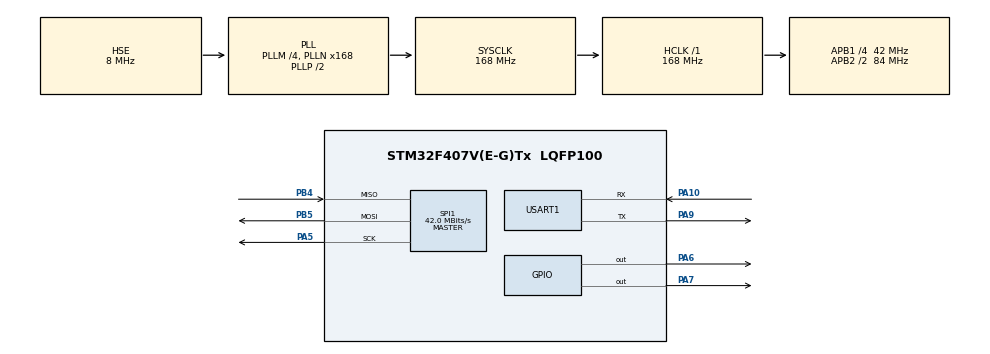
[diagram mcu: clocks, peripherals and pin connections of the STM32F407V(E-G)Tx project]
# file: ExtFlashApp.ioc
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Mcu.Family=STM32F4
Mcu.Name=STM32F407V(E-G)Tx
Mcu.Package=LQFP100
NVIC.PriorityGroup=NVIC_PRIORITYGROUP_4
NVIC.TIM4_IRQn=true\:0\:0\:false\:false\:true\:true\:true\:true
NVIC.TIM8_TRG_COM_TIM14_IRQn=true\:15\:0\:false\:false\:true\:false\:true\:true
NVIC.TimeBase=TIM8_TRG_COM_TIM14_IRQn
NVIC.TimeBaseIP=TIM14
NVIC.USART1_IRQn=true\:0\:0\:false\:false\:true\:true\:true\:true
PA10.Mode=Asynchronous
PA10.Signal=USART1_RX
PA13.Mode=Serial_Wire
PA13.Signal=SYS_JTMS-SWDIO
PA14.Mode=Serial_Wire
PA14.Signal=SYS_JTCK-SWCLK
PA5.Mode=Full_Duplex_Master
PA5.Signal=SPI1_SCK
PA6.Signal=GPIO_Output
PA7.Signal=GPIO_Output
PA9.Mode=Asynchronous
PA9.Signal=USART1_TX
PB4.Mode=Full_Duplex_Master
PB4.Signal=SPI1_MISO
PB5.Mode=Full_Duplex_Master
PB5.Signal=SPI1_MOSI
PH0-OSC_IN.Mode=HSE-External-Oscillator
PH0-OSC_IN.Signal=RCC_OSC_IN
PH1-OSC_OUT.Mode=HSE-External-Oscillator
PH1-OSC_OUT.Signal=RCC_OSC_OUT
ProjectManager.HeapSize=0x400
ProjectManager.StackSize=0x800
ProjectManager.TargetToolchain=STM32CubeIDE
RCC.48MHZClocksFreq_Value=84000000
RCC.AHBFreq_Value=168000000
RCC.APB1CLKDivider=RCC_HCLK_DIV4
RCC.APB1Freq_Value=42000000
RCC.APB1TimFreq_Value=84000000
RCC.APB2CLKDivider=RCC_HCLK_DIV2
RCC.APB2Freq_Value=84000000
RCC.APB2TimFreq_Value=168000000
RCC.CortexFreq_Value=168000000
RCC.HCLKFreq_Value=168000000
RCC.HSE_VALUE=8000000
RCC.HSI_VALUE=16000000
RCC.LSE_VALUE=32768
RCC.PLLM=4
RCC.PLLN=168
RCC.PLLSourceVirtual=RCC_PLLSOURCE_HSE
RCC.SYSCLKFreq_VALUE=168000000
RCC.SYSCLKSource=RCC_SYSCLKSOURCE_PLLCLK
RCC.VCOOutputFreq_Value=336000000
SPI1.CalculateBaudRate=42.0 MBits/s
SPI1.Direction=SPI_DIRECTION_2LINES
SPI1.Mode=SPI_MODE_MASTER
SPI1.VirtualType=VM_MASTER
TIM4.Period=250
TIM4.Prescaler=41999
USART1.VirtualMode=VM_ASYNC
VP_SYS_VS_tim14.Mode=TIM14
VP_TIM4_VS_ClockSourceINT.Mode=Internal
board=custom

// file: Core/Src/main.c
/* USER CODE BEGIN Header */
/**
  ******************************************************************************
  * @file           : main.c
  * @brief          : Main program body
  ******************************************************************************
  * @attention
  *
  * Copyright (c) 2025 STMicroelectronics.
  * All rights reserved.
  *
  * This software is licensed under terms that can be found in the LICENSE file
  * in the root directory of this software component.
  * If no LICENSE file comes with this software, it is provided AS-IS.
  *
  ******************************************************************************
  */
/* USER CODE END Header */
#include "main.h"

/* USER CODE BEGIN Includes */
#include <stdlib.h>
#include "sys_command_line.h"
#include "flash_memory.h"

/* USER CODE END Includes */

/* USER CODE BEGIN PD */
//#define USE_EXT_FLASH
/* USER CODE END PD */

SPI_HandleTypeDef hspi1;

TIM_HandleTypeDef htim4;

UART_HandleTypeDef huart1;

void SystemClock_Config(void);
static void MX_GPIO_Init(void);
static void MX_TIM4_Init(void);
static void MX_SPI1_Init(void);
static void MX_USART1_UART_Init(void);
/* USER CODE BEGIN PFP */
void init(void);
void loop(void);
void banner(void);
uint8_t external_flash_read(int argc, char *argv[]);
uint8_t external_flash_write(int argc, char *argv[]);
uint8_t external_flash_erase(int argc, char *argv[]);
/* USER CODE END PFP */

/* USER CODE BEGIN 0 */
const char cli_flash_read[] = "Flash read."
		                      "\n\t\"fr [ID]\" to show memory value by ID";
const char cli_flash_write[] = "Flash write."
		                       "\n\t\"fw [ID] [VALUE]\" write to memory value VALUE by ID";
const char cli_flash_erase[] = "Flash erase."
		                       "\n\t\"fe [ID]\" to erase memory value by ID";

// banner
void banner()
{
    NL1();
    TERMINAL_BACK_DEFAULT(); /* set terminal background color: black */
    TERMINAL_DISPLAY_CLEAR();
    TERMINAL_RESET_CURSOR();
    TERMINAL_FONT_BLUE();
    printf("+---------------------------------+");NL1();
    printf("|    Flash test                   |");NL1();
    printf("+---------------------------------+");NL1();
    printf("| Testing external flash memory   |");NL1();
    printf("+---------------------------------+");NL1();
    printf("µShell v0.1 - by Morgan Diepart (mdiepart@uliege.be)");NL1();
    printf("Original work from https://github.com/ShareCat/STM32CommandLine");NL1();
    printf("-------------------------------");
    NL2();
    TERMINAL_FONT_DEFAULT();
    PRINT_CLI_NAME();
    TERMINAL_SHOW_CURSOR();
}

//
void init()
{
	HAL_TIM_Base_Start_IT(&htim4);

	greet_function = banner;
	CLI_INIT(&huart1);
	CLI_ADD_CMD("fr", cli_flash_read,  external_flash_read);
	CLI_ADD_CMD("fw", cli_flash_write, external_flash_write);
	CLI_ADD_CMD("fe", cli_flash_erase, external_flash_erase);
	cli_log_stat = 0xFFFFFFFF; // Switch on all logs

#ifdef USE_EXT_FLASH
	flash_is_empty = false;
	memset(buffer, 0xff, 256*sizeof(uint8_t));
#endif

	return;
}

//
void loop()
{
	CLI_RUN();

	return;
}

uint8_t external_flash_read(int argc, char *argv[])
{
	uint8_t result = EXIT_SUCCESS;
	LOG(CLI_LOG_SHELL, "Flash read.");NL1();

	return result;
}

//
uint8_t external_flash_write(int argc, char *argv[])
{
	uint8_t result = EXIT_SUCCESS;
	LOG(CLI_LOG_SHELL, "Flash write.");NL1();

	return result;
}

//
uint8_t external_flash_erase(int argc, char *argv[])
{
	uint8_t result = EXIT_SUCCESS;
	LOG(CLI_LOG_SHELL, "Flash erase.");NL1();

	return result;
}

/* USER CODE END 0 */

int main(void)
{

  /* MCU Configuration--------------------------------------------------------*/

  /* Reset of all peripherals, Initializes the Flash interface and the Systick. */
  HAL_Init();

  /* Configure the system clock */
  SystemClock_Config();

  /* Initialize all configured peripherals */
  MX_GPIO_Init();
  MX_TIM4_Init();
  MX_SPI1_Init();
  MX_USART1_UART_Init();
  /* USER CODE BEGIN 2 */
  init();
//  NL1();DBG("Hello from external flash testing.");NL1();
  /* USER CODE END 2 */

  /* Infinite loop */
  /* USER CODE BEGIN WHILE */
  while (1)
  {
	loop();
    /* USER CODE END WHILE */

  }
}

void SystemClock_Config(void)
{
  RCC_OscInitTypeDef RCC_OscInitStruct = {0};
  RCC_ClkInitTypeDef RCC_ClkInitStruct = {0};

  /** Configure the main internal regulator output voltage
  */
  __HAL_RCC_PWR_CLK_ENABLE();
  __HAL_PWR_VOLTAGESCALING_CONFIG(PWR_REGULATOR_VOLTAGE_SCALE1);

  /** Initializes the RCC Oscillators according to the specified parameters
  * in the RCC_OscInitTypeDef structure.
  */
  RCC_OscInitStruct.OscillatorType = RCC_OSCILLATORTYPE_HSE;
  RCC_OscInitStruct.HSEState = RCC_HSE_ON;
  RCC_OscInitStruct.PLL.PLLState = RCC_PLL_ON;
  RCC_OscInitStruct.PLL.PLLSource = RCC_PLLSOURCE_HSE;
  RCC_OscInitStruct.PLL.PLLM = 4;
  RCC_OscInitStruct.PLL.PLLN = 168;
  RCC_OscInitStruct.PLL.PLLP = RCC_PLLP_DIV2;
  RCC_OscInitStruct.PLL.PLLQ = 4;
  if (HAL_RCC_OscConfig(&RCC_OscInitStruct) != HAL_OK)
  {
    Error_Handler();
  }

  /** Initializes the CPU, AHB and APB buses clocks
  */
  RCC_ClkInitStruct.ClockType = RCC_CLOCKTYPE_HCLK|RCC_CLOCKTYPE_SYSCLK
                              |RCC_CLOCKTYPE_PCLK1|RCC_CLOCKTYPE_PCLK2;
  RCC_ClkInitStruct.SYSCLKSource = RCC_SYSCLKSOURCE_PLLCLK;
  RCC_ClkInitStruct.AHBCLKDivider = RCC_SYSCLK_DIV1;
  RCC_ClkInitStruct.APB1CLKDivider = RCC_HCLK_DIV4;
  RCC_ClkInitStruct.APB2CLKDivider = RCC_HCLK_DIV2;

  if (HAL_RCC_ClockConfig(&RCC_ClkInitStruct, FLASH_LATENCY_5) != HAL_OK)
  {
    Error_Handler();
  }
}

static void MX_SPI1_Init(void)
{

  /* SPI1 parameter configuration*/
  hspi1.Instance = SPI1;
  hspi1.Init.Mode = SPI_MODE_MASTER;
  hspi1.Init.Direction = SPI_DIRECTION_2LINES;
  hspi1.Init.DataSize = SPI_DATASIZE_8BIT;
  hspi1.Init.CLKPolarity = SPI_POLARITY_LOW;
  hspi1.Init.CLKPhase = SPI_PHASE_1EDGE;
  hspi1.Init.NSS = SPI_NSS_SOFT;
  hspi1.Init.BaudRatePrescaler = SPI_BAUDRATEPRESCALER_2;
  hspi1.Init.FirstBit = SPI_FIRSTBIT_MSB;
  hspi1.Init.TIMode = SPI_TIMODE_DISABLE;
  hspi1.Init.CRCCalculation = SPI_CRCCALCULATION_DISABLE;
  hspi1.Init.CRCPolynomial = 10;
  if (HAL_SPI_Init(&hspi1) != HAL_OK)
  {
    Error_Handler();
  }

}

static void MX_TIM4_Init(void)
{

  TIM_ClockConfigTypeDef sClockSourceConfig = {0};
  TIM_MasterConfigTypeDef sMasterConfig = {0};

  htim4.Instance = TIM4;
  htim4.Init.Prescaler = 41999;
  htim4.Init.CounterMode = TIM_COUNTERMODE_UP;
  htim4.Init.Period = 250;
  htim4.Init.ClockDivision = TIM_CLOCKDIVISION_DIV1;
  htim4.Init.AutoReloadPreload = TIM_AUTORELOAD_PRELOAD_DISABLE;
  if (HAL_TIM_Base_Init(&htim4) != HAL_OK)
  {
    Error_Handler();
  }
  sClockSourceConfig.ClockSource = TIM_CLOCKSOURCE_INTERNAL;
  if (HAL_TIM_ConfigClockSource(&htim4, &sClockSourceConfig) != HAL_OK)
  {
    Error_Handler();
  }
  sMasterConfig.MasterOutputTrigger = TIM_TRGO_RESET;
  sMasterConfig.MasterSlaveMode = TIM_MASTERSLAVEMODE_DISABLE;
  if (HAL_TIMEx_MasterConfigSynchronization(&htim4, &sMasterConfig) != HAL_OK)
  {
    Error_Handler();
  }

}

static void MX_USART1_UART_Init(void)
{

  huart1.Instance = USART1;
  huart1.Init.BaudRate = 115200;
  huart1.Init.WordLength = UART_WORDLENGTH_8B;
  huart1.Init.StopBits = UART_STOPBITS_1;
  huart1.Init.Parity = UART_PARITY_NONE;
  huart1.Init.Mode = UART_MODE_TX_RX;
  huart1.Init.HwFlowCtl = UART_HWCONTROL_NONE;
  huart1.Init.OverSampling = UART_OVERSAMPLING_16;
  if (HAL_UART_Init(&huart1) != HAL_OK)
  {
    Error_Handler();
  }

}

static void MX_GPIO_Init(void)
{
  GPIO_InitTypeDef GPIO_InitStruct = {0};

  /* GPIO Ports Clock Enable */
  __HAL_RCC_GPIOH_CLK_ENABLE();
  __HAL_RCC_GPIOA_CLK_ENABLE();
  __HAL_RCC_GPIOB_CLK_ENABLE();

  /*Configure GPIO pin Output Level */
  HAL_GPIO_WritePin(GPIOA, GPIO_PIN_6|GPIO_PIN_7, GPIO_PIN_RESET);

  /*Configure GPIO pins : PA6 PA7 */
  GPIO_InitStruct.Pin = GPIO_PIN_6|GPIO_PIN_7;
  GPIO_InitStruct.Mode = GPIO_MODE_OUTPUT_PP;
  GPIO_InitStruct.Pull = GPIO_NOPULL;
  GPIO_InitStruct.Speed = GPIO_SPEED_FREQ_LOW;
  HAL_GPIO_Init(GPIOA, &GPIO_InitStruct);

}

void HAL_TIM_PeriodElapsedCallback(TIM_HandleTypeDef *htim)
{
  if (htim->Instance == TIM14)
  {
    HAL_IncTick();
  }
  /* USER CODE BEGIN Callback 1 */
  if (htim->Instance == TIM4) {
	HAL_GPIO_TogglePin(GPIOA, GPIO_PIN_7);
  }

  /* USER CODE END Callback 1 */
}

void Error_Handler(void)
{
  __disable_irq();
  while (1)
  {
  }
}
